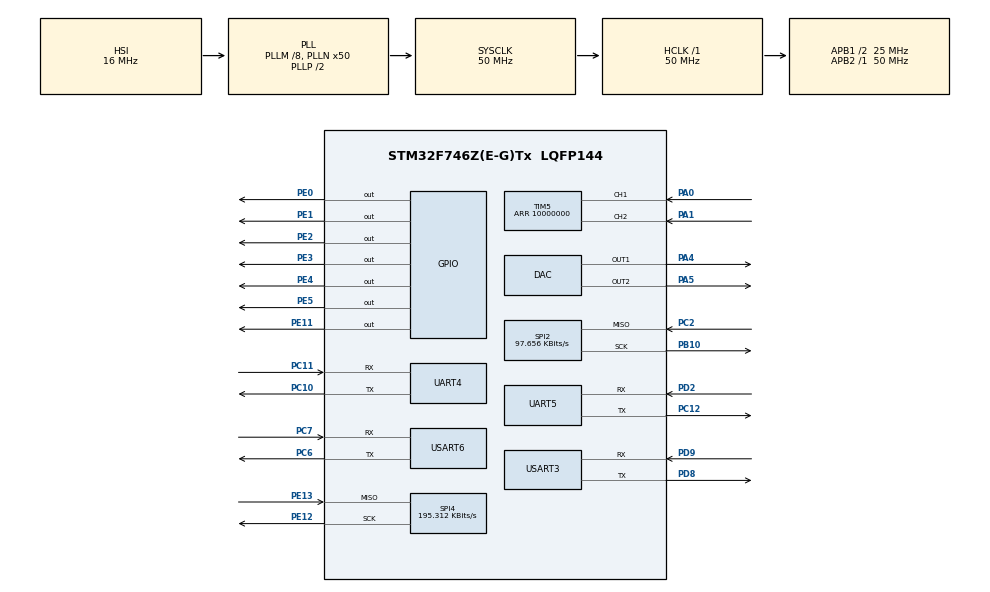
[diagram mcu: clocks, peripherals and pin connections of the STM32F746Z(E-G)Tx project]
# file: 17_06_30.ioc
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Mcu.Family=STM32F7
Mcu.Name=STM32F746Z(E-G)Tx
Mcu.Package=LQFP144
NVIC.PriorityGroup=NVIC_PRIORITYGROUP_4
NVIC.SPI4_IRQn=true\:0\:0\:false\:false\:true
NVIC.TIM1_TRG_COM_TIM11_IRQn=true\:0\:0\:false\:false\:true
NVIC.TIM2_IRQn=true\:0\:0\:false\:false\:true
NVIC.TIM3_IRQn=true\:0\:0\:false\:false\:true
NVIC.UART5_IRQn=true\:0\:0\:false\:false\:true
NVIC.USART3_IRQn=true\:0\:0\:false\:false\:true
PA0/WKUP.Signal=S_TIM5_CH1
PA1.Signal=S_TIM5_CH2
PA13.Mode=Serial_Wire
PA13.Signal=SYS_JTMS-SWDIO
PA14.Mode=Serial_Wire
PA14.Signal=SYS_JTCK-SWCLK
PA4.Signal=COMP_DAC1_group
PA5.Signal=COMP_DAC2_group
PB10.Mode=RX_Only_Simplex_Unidirect_Master
PB10.Signal=SPI2_SCK
PC10.Mode=Asynchronous
PC10.Signal=UART4_TX
PC11.Mode=Asynchronous
PC11.Signal=UART4_RX
PC12.Mode=Asynchronous
PC12.Signal=UART5_TX
PC2.Mode=RX_Only_Simplex_Unidirect_Master
PC2.Signal=SPI2_MISO
PC6.Mode=Asynchronous
PC6.Signal=USART6_TX
PC7.Mode=Asynchronous
PC7.Signal=USART6_RX
PD2.Mode=Asynchronous
PD2.Signal=UART5_RX
PD8.Mode=Asynchronous
PD8.Signal=USART3_TX
PD9.Mode=Asynchronous
PD9.Signal=USART3_RX
PE0.Signal=GPIO_Output
PE1.Signal=GPIO_Output
PE11.Signal=GPIO_Output
PE12.Mode=RX_Only_Simplex_Unidirect_Master
PE12.Signal=SPI4_SCK
PE13.Mode=RX_Only_Simplex_Unidirect_Master
PE13.Signal=SPI4_MISO
PE2.Signal=GPIO_Output
PE3.Signal=GPIO_Output
PE4.Signal=GPIO_Output
PE5.Signal=GPIO_Output
PH0/OSC_IN.Mode=HSE-External-Clock-Source
PH0/OSC_IN.Signal=RCC_OSC_IN
PH1/OSC_OUT.Mode=HSE-External-Clock-Source
PH1/OSC_OUT.Signal=RCC_OSC_OUT
ProjectManager.HeapSize=0x200
ProjectManager.StackSize=0x400
ProjectManager.TargetToolchain=EWARM
RCC.AHBFreq_Value=50000000
RCC.APB1CLKDivider=RCC_HCLK_DIV2
RCC.APB1Freq_Value=25000000
RCC.APB1TimFreq_Value=50000000
RCC.APB2Freq_Value=50000000
RCC.APB2TimFreq_Value=50000000
RCC.CortexFreq_Value=50000000
RCC.HCLKFreq_Value=50000000
RCC.HSE_VALUE=24000000
RCC.HSI_VALUE=16000000
RCC.LSE_VALUE=32768
RCC.PLLM=8
RCC.PLLN=50
RCC.SYSCLKFreq_VALUE=50000000
RCC.SYSCLKSource=RCC_SYSCLKSOURCE_PLLCLK
RCC.USBFreq_Value=50000000
RCC.VCOOutputFreq_Value=100000000
SH.COMP_DAC1_group.0=DAC_OUT1,DAC_OUT1
SH.COMP_DAC2_group.0=DAC_OUT2,DAC_OUT2
SH.S_TIM5_CH1.0=TIM5_CH1,Input_Capture1_from_TI1
SH.S_TIM5_CH2.0=TIM5_CH2,Input_Capture2_from_TI2
SPI2.BaudRatePrescaler=SPI_BAUDRATEPRESCALER_256
SPI2.CalculateBaudRate=97.656 KBits/s
SPI2.Direction=SPI_DIRECTION_2LINES_RXONLY
SPI2.Mode=SPI_MODE_MASTER
SPI2.VirtualType=VM_MASTER
SPI4.BaudRatePrescaler=SPI_BAUDRATEPRESCALER_256
SPI4.CLKPolarity=SPI_POLARITY_HIGH
SPI4.CalculateBaudRate=195.312 KBits/s
SPI4.DataSize=SPI_DATASIZE_16BIT
SPI4.Direction=SPI_DIRECTION_2LINES_RXONLY
SPI4.Mode=SPI_MODE_MASTER
SPI4.VirtualType=VM_MASTER
TIM11.Period=6000
TIM2.Channel-Output\ Compare1\ No\ Output=TIM_CHANNEL_1
TIM2.Channel-Output\ Compare2\ No\ Output=TIM_CHANNEL_2
TIM2.Channel-Output\ Compare3\ No\ Output=TIM_CHANNEL_3
TIM2.Period=499999
TIM2.Pulse-Output\ Compare1\ No\ Output=300
TIM2.Pulse-Output\ Compare2\ No\ Output=3000
TIM2.Pulse-Output\ Compare3\ No\ Output=4800
TIM3.Channel-Output\ Compare1\ No\ Output=TIM_CHANNEL_1
TIM3.Channel-Output\ Compare2\ No\ Output=TIM_CHANNEL_2
TIM3.Period=50050
TIM3.Prescaler=666
TIM3.Pulse-Output\ Compare1\ No\ Output=2
TIM3.Pulse-Output\ Compare2\ No\ Output=25025
TIM5.Channel-Input_Capture1_from_TI1=TIM_CHANNEL_1
TIM5.Channel-Input_Capture2_from_TI2=TIM_CHANNEL_2
TIM5.Period=10000000
UART4.WordLength=WORDLENGTH_8B
UART5.WordLength=WORDLENGTH_8B
USART3.VirtualMode-Asynchronous=VM_ASYNC
USART3.WordLength=WORDLENGTH_8B
USART6.VirtualMode-Asynchronous=VM_ASYNC
VP_TIM11_VS_ClockSourceINT.Mode=Enable_Timer
VP_TIM2_VS_ClockSourceINT.Mode=Internal
VP_TIM2_VS_no_output1.Mode=Output Compare1 No Output
VP_TIM2_VS_no_output2.Mode=Output Compare2 No Output
VP_TIM2_VS_no_output3.Mode=Output Compare3 No Output
VP_TIM3_VS_ClockSourceINT.Mode=Internal
VP_TIM3_VS_no_output1.Mode=Output Compare1 No Output
VP_TIM3_VS_no_output2.Mode=Output Compare2 No Output
VP_TIM5_VS_ClockSourceINT.Mode=Internal
VP_TIM5_VS_XOR.Mode=XOR_enable
board=17_06_30

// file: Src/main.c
/**
  ******************************************************************************
  * File Name          : main.c
  * Description        : Main program body
  ******************************************************************************
  *
  * COPYRIGHT(c) 2017 STMicroelectronics
  *
  * Redistribution and use in source and binary forms, with or without modification,
  * are permitted provided that the following conditions are met:
  *   1. Redistributions of source code must retain the above copyright notice,
  *      this list of conditions and the following disclaimer.
  *   2. Redistributions in binary form must reproduce the above copyright notice,
  *      this list of conditions and the following disclaimer in the documentation
  *      and/or other materials provided with the distribution.
  *   3. Neither the name of STMicroelectronics nor the names of its contributors
  *      may be used to endorse or promote products derived from this software
  *      without specific prior written permission.
  *
  * THIS SOFTWARE IS PROVIDED BY THE COPYRIGHT HOLDERS AND CONTRIBUTORS "AS IS"
  * AND ANY EXPRESS OR IMPLIED WARRANTIES, INCLUDING, BUT NOT LIMITED TO, THE
  * IMPLIED WARRANTIES OF MERCHANTABILITY AND FITNESS FOR A PARTICULAR PURPOSE ARE
  * DISCLAIMED. IN NO EVENT SHALL THE COPYRIGHT HOLDER OR CONTRIBUTORS BE LIABLE
  * FOR ANY DIRECT, INDIRECT, INCIDENTAL, SPECIAL, EXEMPLARY, OR CONSEQUENTIAL
  * DAMAGES (INCLUDING, BUT NOT LIMITED TO, PROCUREMENT OF SUBSTITUTE GOODS OR
  * SERVICES; LOSS OF USE, DATA, OR PROFITS; OR BUSINESS INTERRUPTION) HOWEVER
  * CAUSED AND ON ANY THEORY OF LIABILITY, WHETHER IN CONTRACT, STRICT LIABILITY,
  * OR TORT (INCLUDING NEGLIGENCE OR OTHERWISE) ARISING IN ANY WAY OUT OF THE USE
  * OF THIS SOFTWARE, EVEN IF ADVISED OF THE POSSIBILITY OF SUCH DAMAGE.
  *
  ******************************************************************************
  */
#include "main.h"
#include "stm32f7xx_hal.h"

DAC_HandleTypeDef hdac;

SPI_HandleTypeDef hspi2;
SPI_HandleTypeDef hspi4;

TIM_HandleTypeDef htim2;
TIM_HandleTypeDef htim3;
TIM_HandleTypeDef htim5;
TIM_HandleTypeDef htim11;

UART_HandleTypeDef huart4;
UART_HandleTypeDef huart5;
UART_HandleTypeDef huart3;
UART_HandleTypeDef huart6;

/* USER CODE BEGIN PV */
/* Private variables ---------------------------------------------------------*/

//

// flags
volatile char flag_spi1_rx = 0;
volatile char flag_adc_fin = 0;
volatile char flag_rock_received = 0;
volatile char flag_debug_1=0;

volatile int spi1_temp = 0;
volatile int spi1_temp2 = 0;
volatile int check_cnt = 0;
volatile int check_cnt2 = 0;

//for SPI4
const int SPI4_CS[3] = {0x800,0x4000,0x8000};        //MPPT PE11, BATT PE14, MOTOR PE15
volatile float SPI4_MPPT=0, SPI4_BATT=0, SPI4_MOTOR=0;
volatile uint32_t SPI4_sum_data[3] = {0};
volatile int SPI4_index=0;
//***********************************************************//

int Lora_timelaps=0;
struct que_struct
{
  volatile char data[100];
  volatile char front;
  volatile char rear;
};
struct rock_things
{
  volatile int speed_kmph;
  volatile int batt_soc;
  volatile int16_t motor_power;
  volatile char recieve_buffer[10];
  volatile char recieve_index;
} Rock;
struct control_data
{
  volatile int throtle;
  volatile float speed;
  volatile float motor_power;
} Control;

struct que_struct Lora_que;
struct que_struct Gyro_que;
struct que_struct Rock_que;

int num[5];
int numt, i;
/* USER CODE END PV */

void SystemClock_Config(void);
void Error_Handler(void);
static void MX_GPIO_Init(void);
static void MX_TIM2_Init(void);
static void MX_SPI4_Init(void);
static void MX_UART4_Init(void);
static void MX_DAC_Init(void);
static void MX_TIM11_Init(void);
static void MX_USART3_UART_Init(void);
static void MX_TIM3_Init(void);
static void MX_UART5_Init(void);
static void MX_TIM5_Init(void);
static void MX_USART6_UART_Init(void);
static void MX_SPI2_Init(void);

/* USER CODE BEGIN PFP */
/* Private function prototypes -----------------------------------------------*/

void que_push(struct que_struct *Q, char c);
char que_pop(struct que_struct *Q);
void que_push_str(struct que_struct *Q, char str[]);
void Lora_transmit(void);
void Rock_transmit(void);
void Rock_recieve(void);
void write_num(struct que_struct *Q, float Num);
void write_timelaps(struct que_struct *Q, int Num);

/* USER CODE END PFP */

int main(void)
{

  /* MCU Configuration----------------------------------------------------------*/

  /* Reset of all peripherals, Initializes the Flash interface and the Systick. */
  HAL_Init();

  /* Configure the system clock */
  SystemClock_Config();

  /* Initialize all configured peripherals */
  MX_GPIO_Init();
  MX_TIM2_Init();
  MX_SPI4_Init();
  MX_UART4_Init();
  MX_DAC_Init();
  MX_TIM11_Init();
  MX_USART3_UART_Init();
  MX_TIM3_Init();
  MX_UART5_Init();
  MX_TIM5_Init();
  MX_USART6_UART_Init();
  MX_SPI2_Init();

  /* USER CODE BEGIN 2 */

  GPIOE->ODR |= 0x800;   //PE11 HIGH
  SPI4->CR2 |= 0x40;

  //TIM3->DIER |= 0x01;   //UIE
  TIM3->DIER |= 0x02;   //CC1IE
  TIM3->DIER |= 0x04;   //CC2IE

  TIM2->CR1 |= 0x01;
  TIM2->DIER |= 0x0F;
  TIM2->CCER |= 0x111;

  TIM11->CR1 |= 0x1;     //enable TIM11
  TIM11->DIER |= 0x1;    //enable TIM11 intterupt

  //USART3->CR1 |= 0x01;   // enable UART
  //USART3->CR1 |= 0x04;   // enable Receive
  //USART3->CR1 |= 0x08;   // enable Transmit
  //USART3->CR1 |= 0x20;   // enable Receive interrupt
  //USART3->CR1 |= 0x40;   // enable Transmit complete interrupt
  //USART3->CR1 |= 0x80;   // enable Transmit data register empty interrupt

  UART4->CR1 |= 0x01;   // enable UART
  UART4->CR1 |= 0x04;   // enable Receive
  UART4->CR1 |= 0x08;   // enable Transmit
  //UART4->CR1 |= 0x20;   // enable Receive interrupt
  //UART4->CR1 |= 0x40;   // enable Transmit complete interrupt
  //UART4->CR1 |= 0x80;   // enable Transmit data register empty interrupt

  UART5->CR1 |= 0x01;   // enable UART
  UART5->CR1 |= 0x04;   // enable Receive
  UART5->CR1 |= 0x08;   // enable Transmit
  UART5->CR1 |= 0x20;   // enable Receive interrupt

  DAC->CR |= 0x10001;
  /* USER CODE END 2 */

  /* Infinite loop */
  /* USER CODE BEGIN WHILE */
  while (1)
  {
    /*
    DAC->DHR12R1 = 0;
    DAC->DHR12R2 = 0;
    GPIOE->BSRR=0x20;
    HAL_Delay(1000);
    DAC->DHR12R1 = 1000;
    DAC->DHR12R2 = 1000;
    HAL_Delay(1000);
    DAC->DHR12R1 = 2000;
    DAC->DHR12R2 = 2000;
    GPIOE->BSRR=0x200000;
    HAL_Delay(1000);
    DAC->DHR12R1 = 3000;
    DAC->DHR12R2 = 3000;
    HAL_Delay(1000);
    */
    //GPIOE->BSRR=0x20;
    HAL_Delay(1000);
    //GPIOE->BSRR=0x200000;
    HAL_Delay(1000);
    Lora_transmit();
    //Rock_transmit();
    Rock_recieve();
  /* USER CODE END WHILE */

  }

}

/** System Clock Configuration
*/
void SystemClock_Config(void)
{

  RCC_OscInitTypeDef RCC_OscInitStruct;
  RCC_ClkInitTypeDef RCC_ClkInitStruct;
  RCC_PeriphCLKInitTypeDef PeriphClkInitStruct;

    /**Configure the main internal regulator output voltage
    */
  __HAL_RCC_PWR_CLK_ENABLE();

  __HAL_PWR_VOLTAGESCALING_CONFIG(PWR_REGULATOR_VOLTAGE_SCALE3);

    /**Initializes the CPU, AHB and APB busses clocks
    */
  RCC_OscInitStruct.OscillatorType = RCC_OSCILLATORTYPE_HSI;
  RCC_OscInitStruct.HSIState = RCC_HSI_ON;
  RCC_OscInitStruct.HSICalibrationValue = 16;
  RCC_OscInitStruct.PLL.PLLState = RCC_PLL_ON;
  RCC_OscInitStruct.PLL.PLLSource = RCC_PLLSOURCE_HSI;
  RCC_OscInitStruct.PLL.PLLM = 8;
  RCC_OscInitStruct.PLL.PLLN = 50;
  RCC_OscInitStruct.PLL.PLLP = RCC_PLLP_DIV2;
  RCC_OscInitStruct.PLL.PLLQ = 2;
  if (HAL_RCC_OscConfig(&RCC_OscInitStruct) != HAL_OK)
  {
    Error_Handler();
  }

    /**Initializes the CPU, AHB and APB busses clocks
    */
  RCC_ClkInitStruct.ClockType = RCC_CLOCKTYPE_HCLK|RCC_CLOCKTYPE_SYSCLK
                              |RCC_CLOCKTYPE_PCLK1|RCC_CLOCKTYPE_PCLK2;
  RCC_ClkInitStruct.SYSCLKSource = RCC_SYSCLKSOURCE_PLLCLK;
  RCC_ClkInitStruct.AHBCLKDivider = RCC_SYSCLK_DIV1;
  RCC_ClkInitStruct.APB1CLKDivider = RCC_HCLK_DIV2;
  RCC_ClkInitStruct.APB2CLKDivider = RCC_HCLK_DIV1;

  if (HAL_RCC_ClockConfig(&RCC_ClkInitStruct, FLASH_LATENCY_1) != HAL_OK)
  {
    Error_Handler();
  }

  PeriphClkInitStruct.PeriphClockSelection = RCC_PERIPHCLK_USART3|RCC_PERIPHCLK_USART6
                              |RCC_PERIPHCLK_UART4|RCC_PERIPHCLK_UART5;
  PeriphClkInitStruct.Usart3ClockSelection = RCC_USART3CLKSOURCE_PCLK1;
  PeriphClkInitStruct.Uart4ClockSelection = RCC_UART4CLKSOURCE_PCLK1;
  PeriphClkInitStruct.Uart5ClockSelection = RCC_UART5CLKSOURCE_PCLK1;
  PeriphClkInitStruct.Usart6ClockSelection = RCC_USART6CLKSOURCE_PCLK2;
  if (HAL_RCCEx_PeriphCLKConfig(&PeriphClkInitStruct) != HAL_OK)
  {
    Error_Handler();
  }

    /**Configure the Systick interrupt time
    */
  HAL_SYSTICK_Config(HAL_RCC_GetHCLKFreq()/1000);

    /**Configure the Systick
    */
  HAL_SYSTICK_CLKSourceConfig(SYSTICK_CLKSOURCE_HCLK);

  /* SysTick_IRQn interrupt configuration */
  HAL_NVIC_SetPriority(SysTick_IRQn, 0, 0);
}

/* DAC init function */
static void MX_DAC_Init(void)
{

  DAC_ChannelConfTypeDef sConfig;

    /**DAC Initialization
    */
  hdac.Instance = DAC;
  if (HAL_DAC_Init(&hdac) != HAL_OK)
  {
    Error_Handler();
  }

    /**DAC channel OUT1 config
    */
  sConfig.DAC_Trigger = DAC_TRIGGER_NONE;
  sConfig.DAC_OutputBuffer = DAC_OUTPUTBUFFER_ENABLE;
  if (HAL_DAC_ConfigChannel(&hdac, &sConfig, DAC_CHANNEL_1) != HAL_OK)
  {
    Error_Handler();
  }

    /**DAC channel OUT2 config
    */
  if (HAL_DAC_ConfigChannel(&hdac, &sConfig, DAC_CHANNEL_2) != HAL_OK)
  {
    Error_Handler();
  }

}

/* SPI2 init function */
static void MX_SPI2_Init(void)
{

  hspi2.Instance = SPI2;
  hspi2.Init.Mode = SPI_MODE_MASTER;
  hspi2.Init.Direction = SPI_DIRECTION_2LINES_RXONLY;
  hspi2.Init.DataSize = SPI_DATASIZE_4BIT;
  hspi2.Init.CLKPolarity = SPI_POLARITY_LOW;
  hspi2.Init.CLKPhase = SPI_PHASE_1EDGE;
  hspi2.Init.NSS = SPI_NSS_SOFT;
  hspi2.Init.BaudRatePrescaler = SPI_BAUDRATEPRESCALER_256;
  hspi2.Init.FirstBit = SPI_FIRSTBIT_MSB;
  hspi2.Init.TIMode = SPI_TIMODE_DISABLE;
  hspi2.Init.CRCCalculation = SPI_CRCCALCULATION_DISABLE;
  hspi2.Init.CRCPolynomial = 7;
  hspi2.Init.CRCLength = SPI_CRC_LENGTH_DATASIZE;
  hspi2.Init.NSSPMode = SPI_NSS_PULSE_ENABLE;
  if (HAL_SPI_Init(&hspi2) != HAL_OK)
  {
    Error_Handler();
  }

}

/* SPI4 init function */
static void MX_SPI4_Init(void)
{

  hspi4.Instance = SPI4;
  hspi4.Init.Mode = SPI_MODE_MASTER;
  hspi4.Init.Direction = SPI_DIRECTION_2LINES_RXONLY;
  hspi4.Init.DataSize = SPI_DATASIZE_16BIT;
  hspi4.Init.CLKPolarity = SPI_POLARITY_HIGH;
  hspi4.Init.CLKPhase = SPI_PHASE_1EDGE;
  hspi4.Init.NSS = SPI_NSS_SOFT;
  hspi4.Init.BaudRatePrescaler = SPI_BAUDRATEPRESCALER_256;
  hspi4.Init.FirstBit = SPI_FIRSTBIT_MSB;
  hspi4.Init.TIMode = SPI_TIMODE_DISABLE;
  hspi4.Init.CRCCalculation = SPI_CRCCALCULATION_DISABLE;
  hspi4.Init.CRCPolynomial = 7;
  hspi4.Init.CRCLength = SPI_CRC_LENGTH_DATASIZE;
  hspi4.Init.NSSPMode = SPI_NSS_PULSE_ENABLE;
  if (HAL_SPI_Init(&hspi4) != HAL_OK)
  {
    Error_Handler();
  }

}

/* TIM2 init function */
static void MX_TIM2_Init(void)
{

  TIM_ClockConfigTypeDef sClockSourceConfig;
  TIM_MasterConfigTypeDef sMasterConfig;
  TIM_OC_InitTypeDef sConfigOC;

  htim2.Instance = TIM2;
  htim2.Init.Prescaler = 0;
  htim2.Init.CounterMode = TIM_COUNTERMODE_UP;
  htim2.Init.Period = 499999;
  htim2.Init.ClockDivision = TIM_CLOCKDIVISION_DIV1;
  htim2.Init.AutoReloadPreload = TIM_AUTORELOAD_PRELOAD_DISABLE;
  if (HAL_TIM_Base_Init(&htim2) != HAL_OK)
  {
    Error_Handler();
  }

  sClockSourceConfig.ClockSource = TIM_CLOCKSOURCE_INTERNAL;
  if (HAL_TIM_ConfigClockSource(&htim2, &sClockSourceConfig) != HAL_OK)
  {
    Error_Handler();
  }

  if (HAL_TIM_OC_Init(&htim2) != HAL_OK)
  {
    Error_Handler();
  }

  sMasterConfig.MasterOutputTrigger = TIM_TRGO_RESET;
  sMasterConfig.MasterSlaveMode = TIM_MASTERSLAVEMODE_DISABLE;
  if (HAL_TIMEx_MasterConfigSynchronization(&htim2, &sMasterConfig) != HAL_OK)
  {
    Error_Handler();
  }

  sConfigOC.OCMode = TIM_OCMODE_TIMING;
  sConfigOC.Pulse = 300;
  sConfigOC.OCPolarity = TIM_OCPOLARITY_HIGH;
  sConfigOC.OCFastMode = TIM_OCFAST_DISABLE;
  if (HAL_TIM_OC_ConfigChannel(&htim2, &sConfigOC, TIM_CHANNEL_1) != HAL_OK)
  {
    Error_Handler();
  }

  sConfigOC.Pulse = 3000;
  if (HAL_TIM_OC_ConfigChannel(&htim2, &sConfigOC, TIM_CHANNEL_2) != HAL_OK)
  {
    Error_Handler();
  }

  sConfigOC.Pulse = 4800;
  if (HAL_TIM_OC_ConfigChannel(&htim2, &sConfigOC, TIM_CHANNEL_3) != HAL_OK)
  {
    Error_Handler();
  }

}

/* TIM3 init function */
static void MX_TIM3_Init(void)
{

  TIM_ClockConfigTypeDef sClockSourceConfig;
  TIM_MasterConfigTypeDef sMasterConfig;
  TIM_OC_InitTypeDef sConfigOC;

  htim3.Instance = TIM3;
  htim3.Init.Prescaler = 666;
  htim3.Init.CounterMode = TIM_COUNTERMODE_UP;
  htim3.Init.Period = 50050;
  htim3.Init.ClockDivision = TIM_CLOCKDIVISION_DIV1;
  htim3.Init.AutoReloadPreload = TIM_AUTORELOAD_PRELOAD_DISABLE;
  if (HAL_TIM_Base_Init(&htim3) != HAL_OK)
  {
    Error_Handler();
  }

  sClockSourceConfig.ClockSource = TIM_CLOCKSOURCE_INTERNAL;
  if (HAL_TIM_ConfigClockSource(&htim3, &sClockSourceConfig) != HAL_OK)
  {
    Error_Handler();
  }

  if (HAL_TIM_OC_Init(&htim3) != HAL_OK)
  {
    Error_Handler();
  }

  sMasterConfig.MasterOutputTrigger = TIM_TRGO_RESET;
  sMasterConfig.MasterSlaveMode = TIM_MASTERSLAVEMODE_DISABLE;
  if (HAL_TIMEx_MasterConfigSynchronization(&htim3, &sMasterConfig) != HAL_OK)
  {
    Error_Handler();
  }

  sConfigOC.OCMode = TIM_OCMODE_TIMING;
  sConfigOC.Pulse = 2;
  sConfigOC.OCPolarity = TIM_OCPOLARITY_HIGH;
  sConfigOC.OCFastMode = TIM_OCFAST_DISABLE;
  if (HAL_TIM_OC_ConfigChannel(&htim3, &sConfigOC, TIM_CHANNEL_1) != HAL_OK)
  {
    Error_Handler();
  }

  sConfigOC.Pulse = 25025;
  if (HAL_TIM_OC_ConfigChannel(&htim3, &sConfigOC, TIM_CHANNEL_2) != HAL_OK)
  {
    Error_Handler();
  }

}

/* TIM5 init function */
static void MX_TIM5_Init(void)
{

  TIM_ClockConfigTypeDef sClockSourceConfig;
  TIM_MasterConfigTypeDef sMasterConfig;
  TIM_IC_InitTypeDef sConfigIC;

  htim5.Instance = TIM5;
  htim5.Init.Prescaler = 0;
  htim5.Init.CounterMode = TIM_COUNTERMODE_UP;
  htim5.Init.Period = 10000000;
  htim5.Init.ClockDivision = TIM_CLOCKDIVISION_DIV1;
  htim5.Init.AutoReloadPreload = TIM_AUTORELOAD_PRELOAD_DISABLE;
  if (HAL_TIM_Base_Init(&htim5) != HAL_OK)
  {
    Error_Handler();
  }

  sClockSourceConfig.ClockSource = TIM_CLOCKSOURCE_INTERNAL;
  if (HAL_TIM_ConfigClockSource(&htim5, &sClockSourceConfig) != HAL_OK)
  {
    Error_Handler();
  }

  if (HAL_TIM_IC_Init(&htim5) != HAL_OK)
  {
    Error_Handler();
  }

  sMasterConfig.MasterOutputTrigger = TIM_TRGO_RESET;
  sMasterConfig.MasterSlaveMode = TIM_MASTERSLAVEMODE_DISABLE;
  if (HAL_TIMEx_MasterConfigSynchronization(&htim5, &sMasterConfig) != HAL_OK)
  {
    Error_Handler();
  }

  sConfigIC.ICPolarity = TIM_INPUTCHANNELPOLARITY_RISING;
  sConfigIC.ICSelection = TIM_ICSELECTION_DIRECTTI;
  sConfigIC.ICPrescaler = TIM_ICPSC_DIV1;
  sConfigIC.ICFilter = 0;
  if (HAL_TIM_IC_ConfigChannel(&htim5, &sConfigIC, TIM_CHANNEL_1) != HAL_OK)
  {
    Error_Handler();
  }

  if (HAL_TIM_IC_ConfigChannel(&htim5, &sConfigIC, TIM_CHANNEL_2) != HAL_OK)
  {
    Error_Handler();
  }

  if (HAL_TIM_ConfigTI1Input(&htim5, TIM_TI1SELECTION_XORCOMBINATION) != HAL_OK)
  {
    Error_Handler();
  }

}

/* TIM11 init function */
static void MX_TIM11_Init(void)
{

  htim11.Instance = TIM11;
  htim11.Init.Prescaler = 0;
  htim11.Init.CounterMode = TIM_COUNTERMODE_UP;
  htim11.Init.Period = 6000;
  htim11.Init.ClockDivision = TIM_CLOCKDIVISION_DIV1;
  htim11.Init.AutoReloadPreload = TIM_AUTORELOAD_PRELOAD_DISABLE;
  if (HAL_TIM_Base_Init(&htim11) != HAL_OK)
  {
    Error_Handler();
  }

}

/* UART4 init function */
static void MX_UART4_Init(void)
{

  huart4.Instance = UART4;
  huart4.Init.BaudRate = 115200;
  huart4.Init.WordLength = UART_WORDLENGTH_8B;
  huart4.Init.StopBits = UART_STOPBITS_1;
  huart4.Init.Parity = UART_PARITY_NONE;
  huart4.Init.Mode = UART_MODE_TX_RX;
  huart4.Init.HwFlowCtl = UART_HWCONTROL_NONE;
  huart4.Init.OverSampling = UART_OVERSAMPLING_16;
  huart4.Init.OneBitSampling = UART_ONE_BIT_SAMPLE_DISABLE;
  huart4.AdvancedInit.AdvFeatureInit = UART_ADVFEATURE_NO_INIT;
  if (HAL_UART_Init(&huart4) != HAL_OK)
  {
    Error_Handler();
  }

}

/* UART5 init function */
static void MX_UART5_Init(void)
{

  huart5.Instance = UART5;
  huart5.Init.BaudRate = 115200;
  huart5.Init.WordLength = UART_WORDLENGTH_8B;
  huart5.Init.StopBits = UART_STOPBITS_1;
  huart5.Init.Parity = UART_PARITY_NONE;
  huart5.Init.Mode = UART_MODE_TX_RX;
  huart5.Init.HwFlowCtl = UART_HWCONTROL_NONE;
  huart5.Init.OverSampling = UART_OVERSAMPLING_16;
  huart5.Init.OneBitSampling = UART_ONE_BIT_SAMPLE_DISABLE;
  huart5.AdvancedInit.AdvFeatureInit = UART_ADVFEATURE_NO_INIT;
  if (HAL_UART_Init(&huart5) != HAL_OK)
  {
    Error_Handler();
  }

}

/* USART3 init function */
static void MX_USART3_UART_Init(void)
{

  huart3.Instance = USART3;
  huart3.Init.BaudRate = 115200;
  huart3.Init.WordLength = UART_WORDLENGTH_8B;
  huart3.Init.StopBits = UART_STOPBITS_1;
  huart3.Init.Parity = UART_PARITY_NONE;
  huart3.Init.Mode = UART_MODE_TX_RX;
  huart3.Init.HwFlowCtl = UART_HWCONTROL_NONE;
  huart3.Init.OverSampling = UART_OVERSAMPLING_16;
  huart3.Init.OneBitSampling = UART_ONE_BIT_SAMPLE_DISABLE;
  huart3.AdvancedInit.AdvFeatureInit = UART_ADVFEATURE_NO_INIT;
  if (HAL_UART_Init(&huart3) != HAL_OK)
  {
    Error_Handler();
  }

}

/* USART6 init function */
static void MX_USART6_UART_Init(void)
{

  huart6.Instance = USART6;
  huart6.Init.BaudRate = 115200;
  huart6.Init.WordLength = UART_WORDLENGTH_7B;
  huart6.Init.StopBits = UART_STOPBITS_1;
  huart6.Init.Parity = UART_PARITY_NONE;
  huart6.Init.Mode = UART_MODE_TX_RX;
  huart6.Init.HwFlowCtl = UART_HWCONTROL_NONE;
  huart6.Init.OverSampling = UART_OVERSAMPLING_16;
  huart6.Init.OneBitSampling = UART_ONE_BIT_SAMPLE_DISABLE;
  huart6.AdvancedInit.AdvFeatureInit = UART_ADVFEATURE_NO_INIT;
  if (HAL_UART_Init(&huart6) != HAL_OK)
  {
    Error_Handler();
  }

}

/** Configure pins as
        * Analog
        * Input
        * Output
        * EVENT_OUT
        * EXTI
*/
static void MX_GPIO_Init(void)
{

  GPIO_InitTypeDef GPIO_InitStruct;

  /* GPIO Ports Clock Enable */
  __HAL_RCC_GPIOE_CLK_ENABLE();
  __HAL_RCC_GPIOH_CLK_ENABLE();
  __HAL_RCC_GPIOC_CLK_ENABLE();
  __HAL_RCC_GPIOA_CLK_ENABLE();
  __HAL_RCC_GPIOB_CLK_ENABLE();
  __HAL_RCC_GPIOD_CLK_ENABLE();

  /*Configure GPIO pin Output Level */
  HAL_GPIO_WritePin(GPIOE, GPIO_PIN_2|GPIO_PIN_3|GPIO_PIN_4|GPIO_PIN_5
                          |GPIO_PIN_11|GPIO_PIN_0|GPIO_PIN_1, GPIO_PIN_RESET);

  /*Configure GPIO pins : PE2 PE3 PE4 PE5
                           PE11 PE0 PE1 */
  GPIO_InitStruct.Pin = GPIO_PIN_2|GPIO_PIN_3|GPIO_PIN_4|GPIO_PIN_5
                          |GPIO_PIN_11|GPIO_PIN_0|GPIO_PIN_1;
  GPIO_InitStruct.Mode = GPIO_MODE_OUTPUT_PP;
  GPIO_InitStruct.Pull = GPIO_NOPULL;
  GPIO_InitStruct.Speed = GPIO_SPEED_FREQ_LOW;
  HAL_GPIO_Init(GPIOE, &GPIO_InitStruct);

}

/* USER CODE BEGIN 4 */
void que_push(struct que_struct *Q, char c)
{
  if(((Q->rear+1)%100) == (Q->front))// que full
  {
  }else
  {
    Q->data[Q->rear] = c;
    Q->rear = (Q->rear+1)%100;
  }
}

char que_pop(struct que_struct *Q)
{
  char temp_index;
  if(Q->front == Q->rear) // que empty
  {
  }else
  {
    temp_index=Q->front;
    Q->front = (Q->front+1)%100;
    return Q->data[temp_index];
  }
  return -1;
}
void que_push_str(struct que_struct *Q, char str[])
{
  int index=0;
  for(index=0 ; index<50 ; index++)        //�ִ� 50��
  {
    if(str[index]==0)
    {
      return;
    }else
    {
      que_push(Q,str[index]);
    }
  }
}
void Lora_transmit(void)
{
  if((flag_adc_fin != 1)&&(Lora_que.front != Lora_que.rear))
  {
    return ;
  }else
  {

    flag_adc_fin=0;
    TIM11->CR1 &= ~(0x1); //timer off

    que_push_str(&Lora_que,"AT+DATA=\t");
    write_timelaps(&Lora_que,Lora_timelaps);
    Lora_timelaps++;

    SPI4_MPPT = ((SPI4_MPPT-2110.3-10.42)*0.0268777);
    SPI4_BATT = ((SPI4_BATT-2110.3)*0.0268777);
    SPI4_MOTOR = ((SPI4_MOTOR-2110.3)*0.0268777);

    //write_num(batt_volatge);
    //que_push_str("[V]\t");

    que_push(&Lora_que,'\t');
    write_num(&Lora_que,SPI4_MPPT);
    que_push_str(&Lora_que,"A\t");
    write_num(&Lora_que,SPI4_BATT);
    que_push_str(&Lora_que,"A\t");
    write_num(&Lora_que,SPI4_MOTOR);
    que_push_str(&Lora_que,"A\t");

    que_push(&Lora_que, 13);
    que_push(&Lora_que, 10);

    TIM11->CR1 |= 0x1;    //timer on
  }
}
void Rock_transmit(void)
{
  que_push(&Rock_que,0xff);     //Start Byte

  que_push(&Rock_que,(Rock.speed_kmph)&(0x7F));
  que_push(&Rock_que,(Rock.batt_soc)&(0x7F));
  que_push(&Rock_que,(Rock.motor_power >> 11)&(0x7F));
  que_push(&Rock_que,(Rock.motor_power >> 6)&(0x7F));
  que_push(&Rock_que,(Rock.motor_power)&(0x7F));

  que_push(&Rock_que,0xf8);     //Stop Byte
}
void Rock_recieve(void)
{

  if(flag_rock_received != 1)
  {
    return ;
  }
  flag_rock_received=0;

  Control.throtle = ( ( (Rock.recieve_buffer[1])&0x1F )<<5 )|((Rock.recieve_buffer[2])&0x1F);
  DAC->DHR12R1 = (Control.throtle)*4;
  DAC->DHR12R2 = (Control.throtle)*4;

  //LED
  if((Rock.recieve_buffer[3])&0x10)     //left on PE0
  {
    TIM3->CR1 |= 0x1;    //timer on
    flag_debug_1 = 0x0f;
  }
  if((Rock.recieve_buffer[3])&0x08)     //right on PE1
  {
    TIM3->CR1 |= 0x1;    //timer on
  }
  if((Rock.recieve_buffer[3])&0x04)     //warinig on
  {
    TIM3->CR1 |= 0x1;    //timer on
    flag_debug_1 = 0x0f;
  }
  if( ((Rock.recieve_buffer[3])&0x1C) == 0)
  {
    GPIOE->BSRR = 0x30000;       //turn off both LED
    TIM3->CR1 &= ~(0x1);        //Timer off
    TIM3->CNT = 0;              //Timer reset
    flag_debug_1 = 0xff;
  }

  //horn
  if((Rock.recieve_buffer[3])&0x02)     //horn PE3
  {
    GPIOE->BSRR = 0x04;
  }else
  {
    GPIOE->BSRR = 0x40000;
  }
}
void write_timelaps(struct que_struct *Q, int Num)
{
  que_push(Q,'0'+Num%100000/10000);
  que_push(Q,'0'+Num%10000/1000);
  que_push(Q,'0'+Num%1000/100);
  que_push(Q,'0'+Num%100/10);
  que_push(Q,'0'+Num%10);
}
void write_num(struct que_struct *Q, float Num) //second decimal point//(-/+)xxx.xx
{
  int temp_num=0;
  temp_num=(int)(Num*100);
  if(temp_num<0)
  {
    temp_num *= -1;
    que_push(Q,'-');
  }else
  {
    que_push(Q,'+');
  }

  que_push(Q,'0'+temp_num%1000000/100000);
  que_push(Q,'0'+temp_num%100000/10000);
  que_push(Q,'0'+temp_num%10000/1000);
  que_push(Q,'0'+temp_num%1000/100);
  que_push(Q,'.');
  que_push(Q,'0'+temp_num%100/10);
  que_push(Q,'0'+temp_num%10);
}
/* USER CODE END 4 */

void Error_Handler(void)
{
  while(1)
  {
  }
}

/************************ (C) COPYRIGHT STMicroelectronics *****END OF FILE****/
